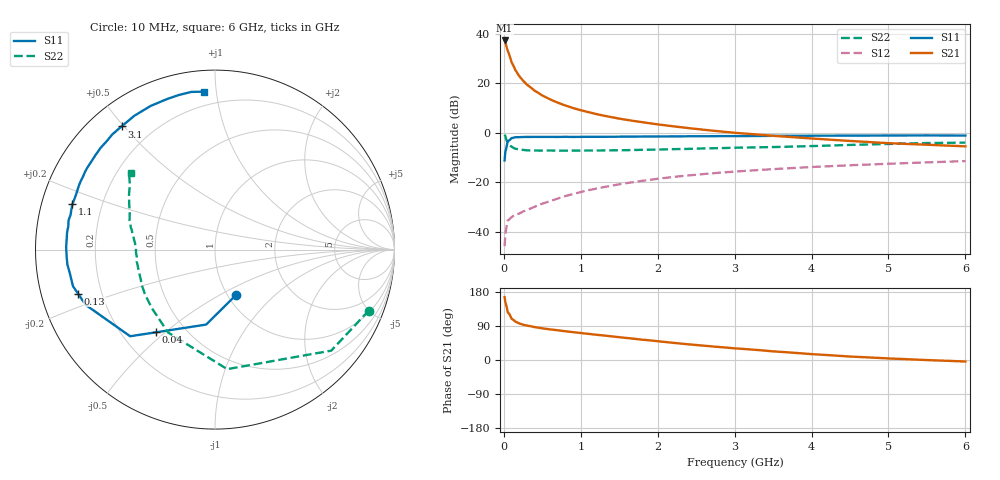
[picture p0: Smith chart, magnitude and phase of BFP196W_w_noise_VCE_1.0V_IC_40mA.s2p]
! Infineon Technologies  Discrete & RF Semiconductors
! BFP196W
! VCE =  1.0 V,  IC =  40 mA
! Common Emitter S-Parameters:  Jan 2017
# GHz  S  MA  R  50
!  f  S11  S21  S12  S22
! GHz  MAG  ANG  MAG  ANG  MAG  ANG  MAG  ANG
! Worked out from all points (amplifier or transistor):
!   77 points, 10 MHz to 6 GHz, reference 50 ohm
!   highest |S21| = 37.3 dB at 10 MHz (marker M1)
!   |S21| within 3 dB of that: start of sweep to 39.38 MHz
!   unconditionally stable (mu >= 1): 640 MHz to 3.892 GHz; 4.192 GHz to 4.314 GHz
!   at 130 MHz: K = 0.41, MSG = 30.0 dB, |S12| = -33.3 dB
!   at 2.2 GHz: K = 1.05, MAG = 8.9 dB, |S12| = -17.8 dB
!   at 6 GHz: K = 1.00, MSG = 3.0 dB, |S12| = -11.4 dB
!   lowest NFmin = 1.24 dB at 450 MHz
!   S11 on the Smith chart (normalised r, x): 10 MHz: 1.10, -0.60; 40 MHz: 0.34, -0.46; 130 MHz: 0.11, -0.15; 1.1 GHz: 0.09, +0.15; 3.1 GHz: 0.09, +0.49; 6 GHz: 0.12, +0.93
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0.01  0.2784 -64.9  72.92 165.9  0.0052 76.0  0.9221 -21.6
0.02  0.4205 -96.7  66.5 152.1  0.0091 66.8  0.8581 -41.0
0.04  0.5678 -125.7  51.2 137.2  0.0141 49.0  0.6835 -67.6
0.05  0.6756 -134.4  45.5 126.3  0.0169 44.3  0.6695 -84.2
0.1  0.7841 -156.9  26.64 108.9  0.02 37.3  0.5305 -119.6
0.13  0.8018 -162.2  21.67 105.0  0.0216 36.9  0.4938 -129.9
0.15  0.8172 -165.6  18.44 101.2  0.0226 36.6  0.4792 -137.4
0.2  0.8196 -170.8  13.97 96.6  0.0235 39.0  0.4632 -147.2
0.25  0.8265 -174.3  11.25 93.1  0.026 41.8  0.4536 -153.8
0.3  0.8275 -177.0  9.385 90.8  0.0278 44.6  0.4454 -158.4
0.4  0.8294 179.0  7.086 86.7  0.0323 48.9  0.4412 -164.3
0.5  0.8284 175.9  5.673 83.6  0.0374 52.3  0.4398 -168.3
0.6  0.8296 173.4  4.747 80.8  0.0421 54.4  0.4411 -171.3
0.7  0.8277 171.0  4.064 78.5  0.0474 57.9  0.4378 -173.5
0.9  0.8276 166.5  3.163 73.5  0.0585 58.8  0.4398 -176.6
1.1  0.8338 162.4  2.613 69.0  0.0699 59.8  0.4404 -179.4
1.5  0.838 154.8  1.937 60.2  0.0918 59.0  0.4462 175.8
2.1  0.8467 143.5  1.419 47.5  0.1238 54.5  0.465 169.8
3.1  0.8614 127.2  0.977 29.4  0.1695 45.4  0.505 160.4
4.1  0.8767 113.0  0.753 14.3  0.2083 36.6  0.5472 150.9
5.1  0.885 102.2  0.611 3.3  0.2414 28.4  0.6028 142.0
6  0.8824 93.9  0.535 -4.0  0.2698 21.6  0.6356 137.5
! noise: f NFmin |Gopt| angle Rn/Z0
0.45  1.24  0.48  -179  0.06
0.9  1.39  0.54  -173  0.06
1.9  2.21  0.69  -150  0.14
2.4  2.61  0.73  -145  0.23
